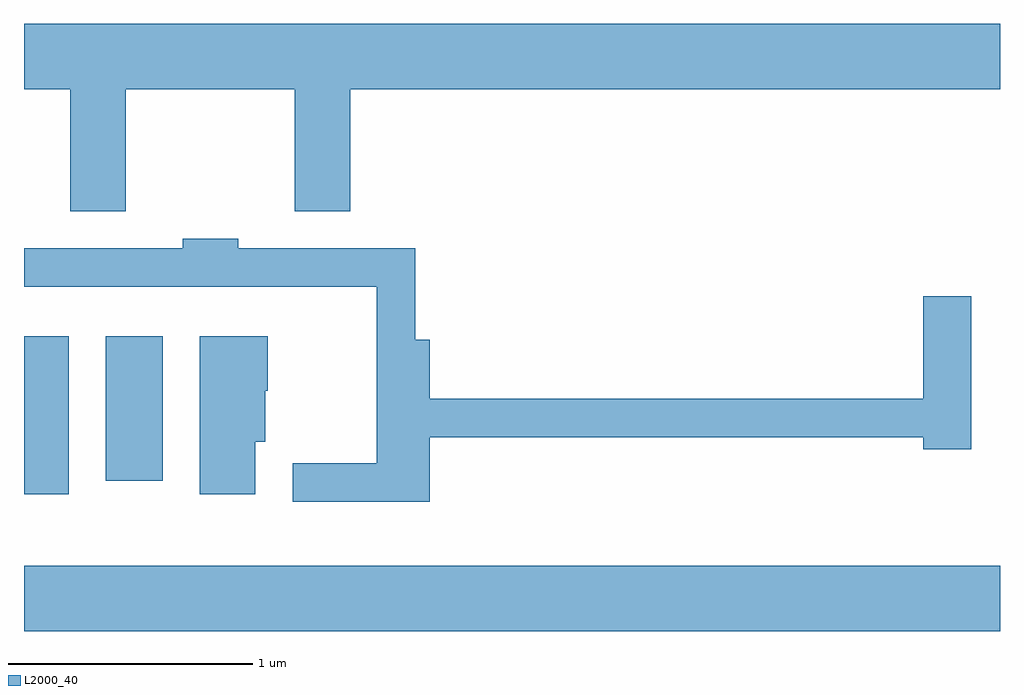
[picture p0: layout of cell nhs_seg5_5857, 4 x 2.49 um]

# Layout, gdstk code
import gdstk
lib = gdstk.Library(unit=1e-6, precision=1e-09)
def R(c, l, rs):  # rectangles x0, y0, x1, y1
    for r in rs: c.add(gdstk.rectangle(r[:2], r[2:], *l))
def P(c, l, *ps):  # polygons
    for p in ps: c.add(gdstk.Polygon(p, *l))
L2000_40 = (2000, 40)

nhs_seg5_5857 = lib.new_cell('nhs_seg5_5857')
R(nhs_seg5_5857, L2000_40, [(359.611,1396.856,363.611,1397.124), (359.611,1397.416,359.794,1398.064), (359.946,1397.471,360.179,1398.064)])
P(nhs_seg5_5857, L2000_40, [(360.029,1399.076),(360.721,1399.076),(360.721,1398.576),(360.949,1398.576),(360.949,1399.076),(363.611,1399.076),(363.611,1399.344),(359.611,1399.344),(359.611,1399.076),(359.801,1399.076),(359.801,1398.576),(360.029,1398.576)],
  [(361.274,1397.651),(363.296,1397.651),(363.296,1397.601),(363.494,1397.601),(363.494,1398.229),(363.296,1398.229),(363.296,1397.809),(361.274,1397.809),(361.274,1398.049),(361.214,1398.049),(361.214,1398.424),(360.489,1398.424),(360.489,1398.464),(360.261,1398.464),(360.261,1398.424),(359.611,1398.424),(359.611,1398.266),(361.056,1398.266),(361.056,1397.544),(360.713,1397.544),(360.713,1397.386),(361.274,1397.386)],
  [(360.559,1397.631),(360.599,1397.631),(360.599,1397.84),(360.609,1397.84),(360.609,1398.064),(360.331,1398.064),(360.331,1397.416),(360.559,1397.416)])

lib.write_gds('nhs_seg5_5857.gds')
